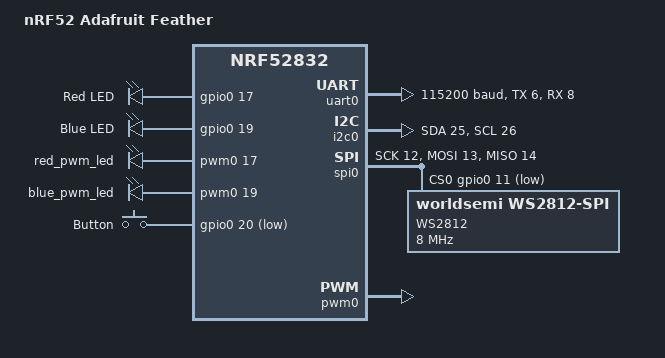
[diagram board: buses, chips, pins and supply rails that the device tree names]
/*
 * Copyright (c) 2018 LEDCity AG
 * Copyright (c) 2017 Linaro Limited
 *
 * SPDX-License-Identifier: Apache-2.0
 */

/dts-v1/;
#include <nordic/nrf52832_qfaa.dtsi>
#include <dt-bindings/led/led.h>
//#include "feather_connector.dtsi"

/ {
	model = "nRF52 Adafruit Feather";
	compatible = "adafruit,nrf52_adafruit_feather";

	aliases {
		pwm-led0 = &red_pwm_led;
	};

	chosen {
		zephyr,console = &uart0;
		zephyr,shell-uart = &uart0;
		zephyr,uart-mcumgr = &uart0;
		zephyr,bt-mon-uart = &uart0;
		zephyr,bt-c2h-uart = &uart0;
		zephyr,sram = &sram0;
		zephyr,flash = &flash0;
		zephyr,code-partition = &slot0_partition;
	};

	/* These aliases are provided for compatibility with samples */
	aliases {
		led0 = &led0;
		led1 = &led1;
		sw0 = &button0;
	};

	leds {
		compatible = "gpio-leds";
		led0: led_0 {
			gpios = <&gpio0 17 0>;
			label = "Red LED";
		};
		led1: led_1 {
			gpios = <&gpio0 19 0>;
			label = "Blue LED";
		};
	};

	pwmleds {
		compatible = "pwm-leds";
		red_pwm_led: pwm_led_0 {
			pwms = <&pwm0 17>;
		};
		blue_pwm_led: pwm_led_1 {
			pwms = <&pwm0 19>;
		};
	};

	buttons {
		compatible = "gpio-keys";
		button0: button_0 {
			gpios = <&gpio0 20 (GPIO_PULL_UP | GPIO_ACTIVE_LOW)>;
			label = "Button";
		};
	};

	// led_strip: bitbang {
	// 	compatible = "worldsemi,ws2812-gpio";
	// 	label = "bitbang";
	// 	in-gpios = <&gpio0 13 GPIO_ACTIVE_HIGH>;

	// 	chain-length = <42>; /* arbitrary; change at will */
	// 	color-mapping = <LED_COLOR_ID_GREEN
	// 			 		LED_COLOR_ID_RED
	// 			 		LED_COLOR_ID_BLUE>;
	// 	reset-delay = <8>;
	// };

	aliases {
		led-strip = &led_strip;
	};
};

&gpiote {
	status = "okay";
};

&gpio0 {
	status = "okay";
};

&uart0 {
	compatible = "nordic,nrf-uart";
	current-speed = <115200>;
	status = "okay";
	tx-pin = <6>;
	rx-pin = <8>;
};

&i2c0 {
	compatible = "nordic,nrf-twi";
	sda-pin = <25>;
	scl-pin = <26>;
};

// &spi0 {
// 	compatible = "nordic,nrf-spi";
// 	status = "okay";
// 	sck-pin = <25>; // 15+32
// 	miso-pin = <17>; // 14+32
// 	mosi-pin = <19>; // 13+32
// 	cs-gpios = <&gpio1 1 GPIO_ACTIVE_LOW>;
// 	lora: sx1261@0 {
// 		compatible = "p1,sx1261";
// 		//status = "disabled";
// 		reg = <0>;
// 		label = "sx1261";
// 		reset-gpios = <&gpio1 4 GPIO_ACTIVE_LOW>;
// 		busy-gpios = <&gpio0 15 GPIO_ACTIVE_HIGH>;
// 		dio1-gpios = <&gpio0 22 GPIO_ACTIVE_HIGH>;
// 		// antenna-enable-gpios = <&gpio1 10  GPIO_ACTIVE_HIGH>;
// 		dio2-tx-enable;
// 		spi-max-frequency = <1000000>;
		
// 	};
// };

&spi0 {
	compatible = "nordic,nrf-spim";
	status = "okay";
	sck-pin = <12>; 
	mosi-pin = <13>; 
	miso-pin = <14>; 

	cs-gpios = <&gpio0 11 GPIO_ACTIVE_LOW>;
	led_strip: ws2812@0 {
		compatible = "worldsemi,ws2812-spi";
		label = "WS2812";

		/* SPI */
		reg = <0>; /* ignored, but necessary for SPI bindings */
		spi-max-frequency = <8000000>;
		//spi-max-frequency = <8333333>;

		/* WS2812 */
		chain-length = <42>; /* arbitrary; change at will */
		color-mapping = <LED_COLOR_ID_GREEN
				 		LED_COLOR_ID_RED
				 		LED_COLOR_ID_BLUE>;
		reset-delay = <50>;
		//spi-one-frame = <0x40>;
		spi-one-frame = <0x40>;
		//spi-zero-frame = <0x70>;
		//spi-zero-frame = <0x80>;
		//spi-zero-frame = <0xE0>;
		//spi-zero-frame = <0x80>;
		spi-zero-frame = <0x70>;
	};
};






&flash0 {

	partitions {
		compatible = "fixed-partitions";
		#address-cells = <1>;
		#size-cells = <1>;

		boot_partition: partition@0 {
			label = "mcuboot";
			reg = <0x00000000 0xc000>;
		};
		slot0_partition: partition@c000 {
			label = "image-0";
			reg = <0x0000C000 0x32000>;
		};
		slot1_partition: partition@3e000 {
			label = "image-1";
			reg = <0x0003E000 0x32000>;
		};
		scratch_partition: partition@70000 {
			label = "image-scratch";
			reg = <0x00070000 0xa000>;
		};
		storage_partition: partition@7a000 {
			label = "storage";
			reg = <0x0007a000 0x00006000>;
		};
	};
};

&pwm0 {
	status = "okay";
	ch0-pin = <17>;
	ch0-inverted;
};
